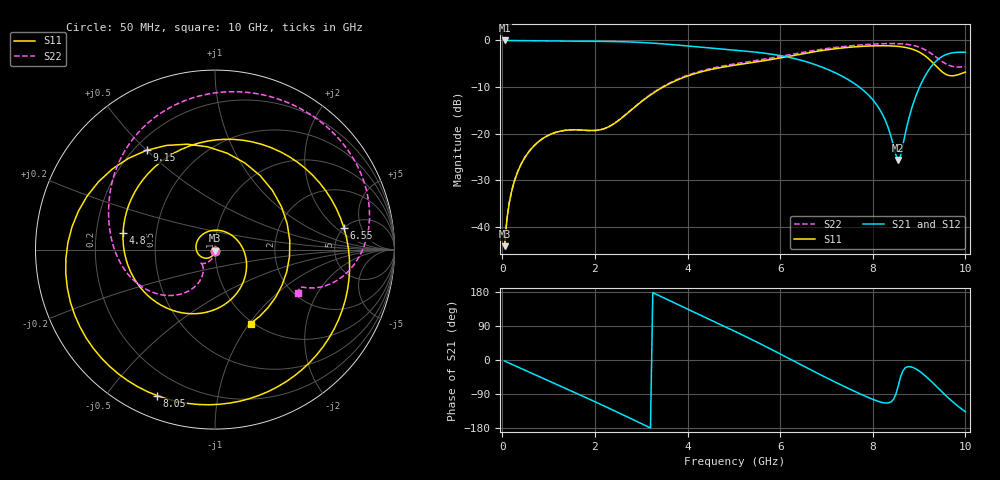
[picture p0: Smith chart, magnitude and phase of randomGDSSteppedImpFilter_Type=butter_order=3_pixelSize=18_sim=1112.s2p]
! freq	dB(S11)	phase(S11)	dB(S12)	phase(S12)
!  dB(S21)	phase(S21)	dB(S22)	phase(S22)
!S-par simulation data
#  GHz  S  DB  R 50
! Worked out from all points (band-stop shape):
!   200 points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, 50 MHz to 10 GHz, reference 50 ohm
!   highest |S21| = -0.01 dB at 50 MHz (marker M1); lowest = -25.7 dB at 8.55 GHz (marker M2)
!   |S21| within 3 dB of the highest: start of sweep to 5.85 GHz; 9.592 GHz to end of sweep
!   lowest |S11| = -44.2 dB at 50 MHz (marker M3), VSWR 1.01, Z = 50 - j0.617 ohm
!   |S11| at or under -10 dB: start of sweep to 3.474 GHz
!   |S22| runs from -44.2 to -0.7 dB; largest |S21 - S12| = 0
!   S11 on the Smith chart (normalised r, x): 50 MHz: 1.00, -0.01; 4.8 GHz: 0.32, +0.08; 6.55 GHz: 5.00, +2.57; 8.05 GHz: 0.10, -0.67; 9.15 GHz: 0.25, +0.50; 10 GHz: 0.97, -1.01
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0.05  -44.19 -92.0  -0.01 -2.8  -0.01 -2.8  -44.16 -90.2
0.2  -32.47 -103.9  -0.02 -11.1  -0.02 -11.1  -32.44 -97.4
0.5  -24.96 -126.3  -0.05 -27.5  -0.05 -27.5  -24.92 -109.6
1.15  -19.75 -176.7  -0.12 -63.1  -0.12 -63.1  -19.74 -131.1
1.75  -19.28 124.4  -0.16 -96.1  -0.16 -96.1  -19.30 -138.3
2.65  -16.08 0.6  -0.29 -147.2  -0.29 -147.2  -16.01 -116.1
3.4  -10.43 -76.2  -0.68 169.0  -0.68 169.0  -10.30 -126.6
4.05  -7.47 -129.8  -1.23 131.5  -1.23 131.5  -7.30 -147.8
4.8  -5.67 169.8  -1.89 88.6  -1.89 88.6  -5.42 -173.0
5.05  -5.27 148.6  -2.11 74.0  -2.11 74.0  -4.99 179.1
5.85  -4.02 75.4  -3.00 25.5  -3.00 25.5  -3.70 154.4
6.55  -2.75 9.5  -4.53 -18.9  -4.53 -18.9  -2.45 130.1
6.7  -2.49 -3.9  -5.00 -28.3  -5.00 -28.3  -2.20 124.3
7.45  -1.51 -65.6  -8.30 -73.7  -8.30 -73.7  -1.21 91.7
8.05  -1.16 -111.6  -13.36 -106.2  -13.36 -106.2  -0.77 62.1
8.35  -1.16 -136.4  -19.24 -112.8  -19.24 -112.8  -0.67 45.7
8.55  -1.28 -155.0  -25.69 -68.3  -25.69 -68.3  -0.69 33.9
8.85  -1.86 171.0  -14.28 -19.0  -14.28 -19.0  -1.02 14.6
9.15  -3.46 124.4  -7.28 -43.5  -7.28 -43.5  -2.11 -5.6
9.35  -5.33 82.8  -4.61 -66.7  -4.61 -66.7  -3.44 -16.4
9.55  -7.12 32.8  -3.18 -90.7  -3.18 -90.7  -4.86 -22.0
10  -6.80 -64.3  -2.55 -136.5  -2.55 -136.5  -5.64 -27.4
